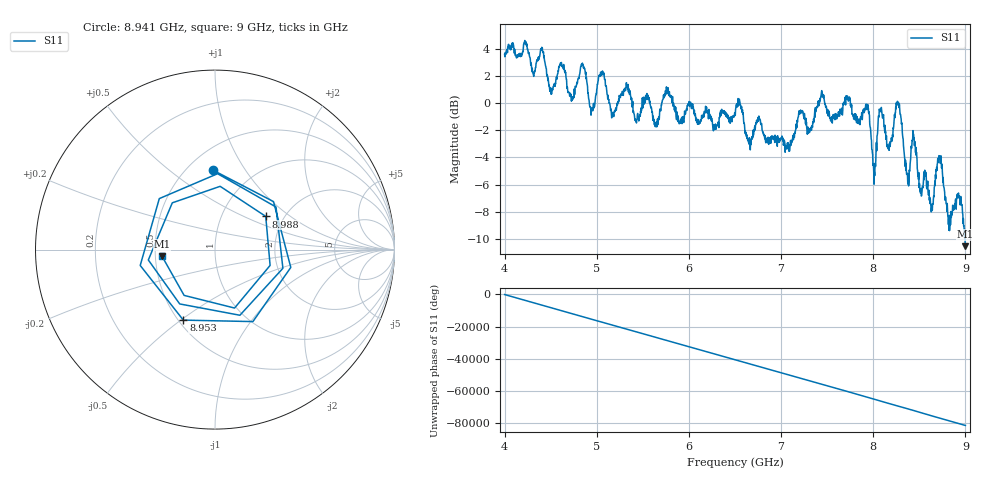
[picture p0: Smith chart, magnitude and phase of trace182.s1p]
! Created with skrf 1.8.0 (http://scikit-rf.org).
# Hz S RI R 50.0
!freq ReS11 ImS11
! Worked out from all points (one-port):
!   1601 points, 4 GHz to 9 GHz, reference 50 ohm
!   lowest |S11| = -10.5 dB at 9 GHz (marker M1), VSWR 1.85, Z = 27.1 - j2.21 ohm
!   |S11| at or under -10 dB: 8.996254 GHz to end of sweep
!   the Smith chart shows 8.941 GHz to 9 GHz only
!   S11 on the Smith chart (normalised r, x): 8.941 GHz: 0.66, +0.73; 8.953 GHz: 0.53, -0.51; 8.988 GHz: 1.61, +0.67; 9 GHz: 0.54, -0.04
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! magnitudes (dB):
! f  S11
! 4 GHz  3.6
! 4.406 GHz  3.9
! 4.506 GHz  0.8
! 4.625 GHz  2.7
! 4.728 GHz  0.5
! 4.85 GHz  2.8
! 4.947 GHz  -0.4
! 5.053 GHz  2.2
! 5.25 GHz  0.4
! 5.875 GHz  -1.2
! 6.5 GHz  -0.8
! 7.125 GHz  -2.6
! 7.438 GHz  0.8
! 7.75 GHz  0.4
! 7.938 GHz  -0.3
! 8.012 GHz  -5.0
! 8.075 GHz  -0.5
! 8.172 GHz  -3.5
! 8.269 GHz  0.1
! 8.375 GHz  -6.0
! 8.438 GHz  -2.3
! 8.625 GHz  -7.4
! 8.719 GHz  -4.1
! 8.822 GHz  -9.4
! 8.941 GHz  -7.1
! 8.953 GHz  -7.3
! 8.988 GHz  -9.4
! 9 GHz  -10.5
